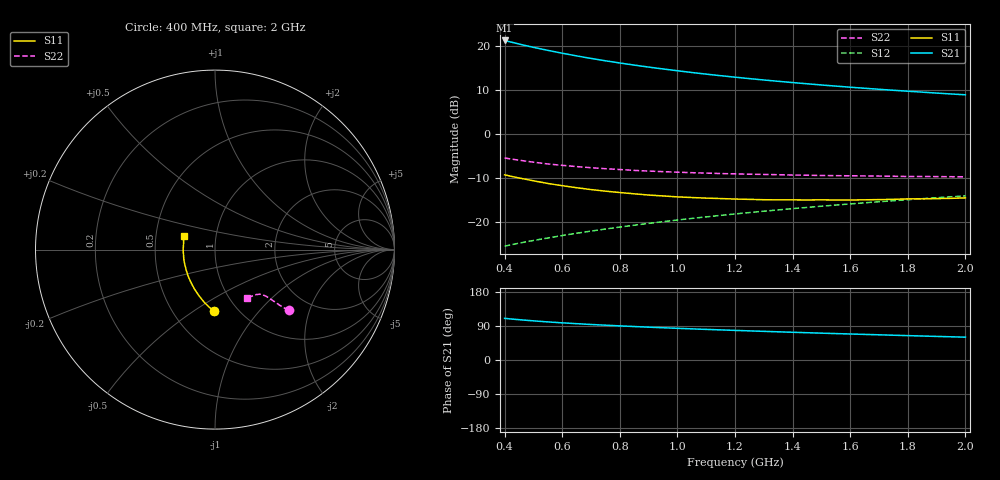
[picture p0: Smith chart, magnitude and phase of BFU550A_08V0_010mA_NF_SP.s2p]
! Filename:  P:\Prog\Test\Noise\ATS_data\Testdata_Net\06 Compressed Noise after Statistics\BFU550A_APG2013_35_C05_08p0V_010mA_NF_CM01_D.sf
! Date/Time: Tue 16/Apr/2013 15:11:31
! BFU550A_APG2013_35_C05_08p0V_1to35mA_NF_CM01_Bias5_R.sf
! Noise Parameter Data File
! BFU550A_APG2013_35_C05_08p0V_1to35mA_NF_CM01
! Date/time: Mon Apr 15 17:49:26 2013
! VAR V_out= 8.000000
! VAR I_out= 9.995000
! VAR V_in= 0.816100
! VAR I_in= 0.102305
! Device data file deembeded for feedlines and parallel
! Original file: \06 Compressed Noise after Statistics\BFU550A_APG2013_35_C05_08p0V_010mA_NF_CM01_R.sf
! Feed-files: PR017V01_150413_Feed1.s2p, PR017V01_150413_Feed2.s2p
! Parallel-file: PR017V01_150413_Par.s2p
# MHz S MA R 50
!  Freq-MHz  S11-mag  S11-arg  S21-mag  S21-arg  S12-mag  S12-arg  S22-mag  S22-arg
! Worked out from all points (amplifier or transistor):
!   37 points, 400 MHz to 2 GHz, reference 50 ohm
!   highest |S21| = 21.3 dB at 400 MHz (marker M1)
!   |S21| within 3 dB of that: start of sweep to 607.9 MHz
!   unconditionally stable (mu >= 1): 1.375 GHz to end of sweep
!   at 500 MHz: K = 0.80, MSG = 22.0 dB, |S12| = -24.3 dB
!   at 1.1 GHz: K = 0.98, MSG = 16.2 dB, |S12| = -18.9 dB
!   at 2 GHz: K = 1.01, MAG = 11.0 dB, |S12| = -14.1 dB
!   lowest NFmin = 0.75 dB at 420 MHz
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400  0.3418 -91.2  11.57 109.9  0.05273 64.9  0.5322 -39.5
420  0.3307 -93.8  11.14 108.4  0.05447 64.9  0.5193 -39.8
440  0.32 -96.3  10.74 107.0  0.05617 65.0  0.5076 -40.0
460  0.3102 -98.6  10.35 105.8  0.05786 65.1  0.4969 -40.3
480  0.3015 -101.0  9.998 104.5  0.05955 65.2  0.4863 -40.5
500  0.2927 -103.3  9.664 103.3  0.06124 65.3  0.4772 -40.7
550  0.2727 -109.0  8.932 100.5  0.06534 65.6  0.4547 -41.0
600  0.2574 -113.9  8.286 98.1  0.06967 66.0  0.4385 -41.2
650  0.2441 -118.9  7.723 95.8  0.07399 66.2  0.4245 -41.5
700  0.2324 -123.5  7.231 93.7  0.07828 66.5  0.4123 -41.7
750  0.2231 -128.1  6.795 91.8  0.08258 66.8  0.4016 -41.9
800  0.2151 -132.3  6.413 90.0  0.08696 67.0  0.3931 -42.2
850  0.208 -136.8  6.069 88.3  0.09131 67.2  0.3842 -42.5
950  0.1967 -144.8  5.484 85.1  0.1001 67.4  0.3718 -43.1
1050  0.1887 -152.3  4.999 82.2  0.1091 67.6  0.3619 -43.8
1150  0.1837 -159.5  4.598 79.4  0.1181 67.6  0.3537 -44.6
1200  0.1814 -163.0  4.422 78.1  0.1227 67.5  0.3508 -45.2
1350  0.1775 -172.2  3.969 74.4  0.1364 67.2  0.3432 -46.9
1500  0.1776 178.7  3.604 70.8  0.1503 66.8  0.3362 -48.8
1650  0.1777 171.1  3.307 67.5  0.1643 66.2  0.3323 -50.8
1750  0.1799 166.1  3.138 65.4  0.1736 65.8  0.3294 -52.3
2000  0.187 155.6  2.785 60.2  0.197 64.4  0.3251 -56.5
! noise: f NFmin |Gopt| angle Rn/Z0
400  0.7889  0.0335  133.5  0.103
460  0.7946  0.04555  144.1  0.0892
600  0.8703  0.02614  148.3  0.1032
800  0.8602  0.08274  167.7  0.0858
1000  0.8705  0.09326  170.7  0.0852
1200  0.9053  0.1142  179  0.0857
1400  0.9366  0.1216  -167.8  0.0878
1600  0.9507  0.1605  -162.1  0.0828
1800  0.9833  0.1937  -155  0.0726
2000  0.9515  0.2093  -148.5  0.0832
